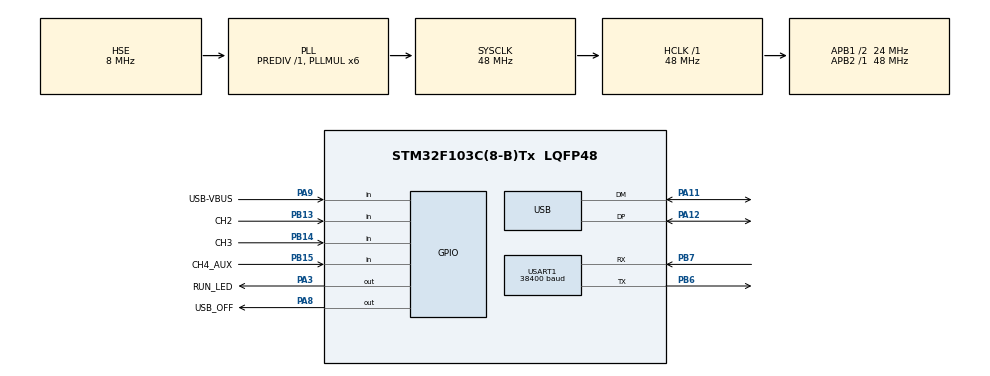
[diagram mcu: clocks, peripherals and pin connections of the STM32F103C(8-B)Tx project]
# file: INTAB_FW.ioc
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IWDG.Prescaler=IWDG_PRESCALER_8
Mcu.Family=STM32F1
Mcu.Name=STM32F103C(8-B)Tx
Mcu.Package=LQFP48
NVIC.PriorityGroup=NVIC_PRIORITYGROUP_4
NVIC.USART1_IRQn=true\:0\:0\:false\:false\:true\:true\:true\:true
NVIC.USB_LP_CAN1_RX0_IRQn=true\:0\:0\:false\:false\:true\:false\:true\:true
PA11.Mode=Device
PA11.Signal=USB_DM
PA12.Mode=Device
PA12.Signal=USB_DP
PA13.Mode=Serial_Wire
PA13.Signal=SYS_JTMS-SWDIO
PA14.Mode=Serial_Wire
PA14.Signal=SYS_JTCK-SWCLK
PA3.GPIO_Label=RUN_LED
PA3.Signal=GPIO_Output
PA8.GPIO_Label=USB_OFF
PA8.GPIO_Speed=GPIO_SPEED_FREQ_LOW
PA8.Signal=GPIO_Output
PA9.GPIO_Label=USB-VBUS
PA9.Signal=GPIO_Input
PB13.GPIO_Label=CH2
PB13.Signal=GPIO_Input
PB14.GPIO_Label=CH3
PB14.Signal=GPIO_Input
PB15.GPIO_Label=CH4_AUX
PB15.Signal=GPIO_Input
PB6.Mode=Asynchronous
PB6.Signal=USART1_TX
PB7.Mode=Asynchronous
PB7.Signal=USART1_RX
PD0-OSC_IN.Mode=HSE-External-Oscillator
PD0-OSC_IN.Signal=RCC_OSC_IN
PD1-OSC_OUT.Mode=HSE-External-Oscillator
PD1-OSC_OUT.Signal=RCC_OSC_OUT
ProjectManager.HeapSize=0x200
ProjectManager.StackSize=0x400
ProjectManager.TargetToolchain=STM32CubeIDE
RCC.AHBFreq_Value=48000000
RCC.APB1CLKDivider=RCC_HCLK_DIV2
RCC.APB1Freq_Value=24000000
RCC.APB1TimFreq_Value=48000000
RCC.APB2Freq_Value=48000000
RCC.APB2TimFreq_Value=48000000
RCC.HCLKFreq_Value=48000000
RCC.PLLMUL=RCC_PLL_MUL6
RCC.SYSCLKFreq_VALUE=48000000
RCC.SYSCLKSource=RCC_SYSCLKSOURCE_PLLCLK
RCC.USBFreq_Value=48000000
USART1.BaudRate=38400
USART1.Mode=MODE_RX
USART1.VirtualMode=VM_ASYNC
USB_DEVICE.APP_RX_DATA_SIZE=512
USB_DEVICE.APP_TX_DATA_SIZE=512
USB_DEVICE.CLASS_NAME_FS=CDC
USB_DEVICE.VirtualMode=Cdc
USB_DEVICE.VirtualModeFS=Cdc_FS
VP_IWDG_VS_IWDG.Mode=IWDG_Activate
VP_USB_DEVICE_VS_USB_DEVICE_CDC_FS.Mode=CDC_FS
board=custom

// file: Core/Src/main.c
/* USER CODE BEGIN Header */
/**
  ******************************************************************************
  * @file           : main.c
  * @brief          : Main program body
  ******************************************************************************
  * @attention
  *
  * Copyright (c) 2026 STMicroelectronics.
  * All rights reserved.
  *
  * This software is licensed under terms that can be found in the LICENSE file
  * in the root directory of this software component.
  * If no LICENSE file comes with this software, it is provided AS-IS.
  *
  ******************************************************************************
  */
/* USER CODE END Header */
#include "main.h"
#include "usb_device.h"

/* USER CODE BEGIN Includes */

#include "app_monitor.h"
#include "app_state_machine.h"      /* 추가 필요 */
#include "app_frontend_link.h"      /* 추가 필요 */

/* USER CODE END Includes */

IWDG_HandleTypeDef hiwdg;

UART_HandleTypeDef huart1;

void SystemClock_Config(void);
static void MX_GPIO_Init(void);
static void MX_IWDG_Init(void);
static void MX_USART1_UART_Init(void);

/* USER CODE BEGIN 0 */

/* ---- 워치독 / 리셋 원인 (2026-10-19) ------------------------------------------
 * g_reset_cause : 부팅 직후 RCC 리셋 플래그를 비트마스크로 저장 (디버거로 확인용)
 *   bit0 IWDG / bit1 소프트웨어(NVIC_SystemReset) / bit2 전원(POR) / bit3 NRST 핀
 *   bit4 WWDG / bit5 저전력.   전원 투입 시에는 전원+핀 비트가 함께 서는 것이 정상.
 * Wdg_EarlyStart() : HAL_Init() 직후(클럭 설정 이전)에 호출한다.
 *   - HSE 기동 실패 등으로 Error_Handler()에 갇혀도 IWDG가 리셋시키도록 가장 먼저 시작
 *   - 디버거로 정지 중에는 IWDG도 정지시켜 브레이크포인트에서 리셋되지 않게 함
 *   - 아래 MX_IWDG_Init()은 이후 CubeMX 생성 순서에서 한 번 더 호출되지만 같은 설정의 재초기화라 무해
 */
#define RSTCAUSE_IWDG   0x01u
#define RSTCAUSE_SOFT   0x02u
#define RSTCAUSE_POWER  0x04u
#define RSTCAUSE_PIN    0x08u
#define RSTCAUSE_WWDG   0x10u
#define RSTCAUSE_LPWR   0x20u

volatile uint8_t g_reset_cause = 0;

static void Wdg_EarlyStart(void)
{
    uint8_t c = 0;
    if (__HAL_RCC_GET_FLAG(RCC_FLAG_IWDGRST))  { c |= RSTCAUSE_IWDG; }
    if (__HAL_RCC_GET_FLAG(RCC_FLAG_SFTRST))  { c |= RSTCAUSE_SOFT; }
    if (__HAL_RCC_GET_FLAG(RCC_FLAG_PORRST))  { c |= RSTCAUSE_POWER; }
    if (__HAL_RCC_GET_FLAG(RCC_FLAG_PINRST))  { c |= RSTCAUSE_PIN; }
    if (__HAL_RCC_GET_FLAG(RCC_FLAG_WWDGRST))  { c |= RSTCAUSE_WWDG; }
    if (__HAL_RCC_GET_FLAG(RCC_FLAG_LPWRRST))  { c |= RSTCAUSE_LPWR; }
    g_reset_cause = c;
    __HAL_RCC_CLEAR_RESET_FLAGS();

    __HAL_DBGMCU_FREEZE_IWDG();
    MX_IWDG_Init();
}

/* USER CODE END 0 */

int main(void)
{

  /* MCU Configuration--------------------------------------------------------*/

  /* Reset of all peripherals, Initializes the Flash interface and the Systick. */
  HAL_Init();

  /* USER CODE BEGIN Init */
  Wdg_EarlyStart();   /* 클럭 설정보다 먼저 워치독 시작 (초기 정지 복구) */

  /* USER CODE END Init */

  /* Configure the system clock */
  SystemClock_Config();

  /* Initialize all configured peripherals */
  MX_GPIO_Init();
  MX_USB_DEVICE_Init();
  MX_IWDG_Init();
  MX_USART1_UART_Init();
  /* USER CODE BEGIN 2 */

  FrontendLink_Init();      /* 추가 필요 - UART 수신 시작 */
  StateMachine_Init();      /* 추가 필요 - 상태판정 초기화 */
  AppMonitor_Init();

  /* USER CODE END 2 */

  /* Infinite loop */
  /* USER CODE BEGIN WHILE */
  while (1)
  {

	StateMachine_Poll();
	AppMonitor_Poll();

    /* USER CODE END WHILE */

  }
}

void SystemClock_Config(void)
{
  RCC_OscInitTypeDef RCC_OscInitStruct = {0};
  RCC_ClkInitTypeDef RCC_ClkInitStruct = {0};
  RCC_PeriphCLKInitTypeDef PeriphClkInit = {0};

  /** Initializes the RCC Oscillators according to the specified parameters
  * in the RCC_OscInitTypeDef structure.
  */
  RCC_OscInitStruct.OscillatorType = RCC_OSCILLATORTYPE_LSI|RCC_OSCILLATORTYPE_HSE;
  RCC_OscInitStruct.HSEState = RCC_HSE_ON;
  RCC_OscInitStruct.HSEPredivValue = RCC_HSE_PREDIV_DIV1;
  RCC_OscInitStruct.HSIState = RCC_HSI_ON;
  RCC_OscInitStruct.LSIState = RCC_LSI_ON;
  RCC_OscInitStruct.PLL.PLLState = RCC_PLL_ON;
  RCC_OscInitStruct.PLL.PLLSource = RCC_PLLSOURCE_HSE;
  RCC_OscInitStruct.PLL.PLLMUL = RCC_PLL_MUL6;
  if (HAL_RCC_OscConfig(&RCC_OscInitStruct) != HAL_OK)
  {
    Error_Handler();
  }

  /** Initializes the CPU, AHB and APB buses clocks
  */
  RCC_ClkInitStruct.ClockType = RCC_CLOCKTYPE_HCLK|RCC_CLOCKTYPE_SYSCLK
                              |RCC_CLOCKTYPE_PCLK1|RCC_CLOCKTYPE_PCLK2;
  RCC_ClkInitStruct.SYSCLKSource = RCC_SYSCLKSOURCE_PLLCLK;
  RCC_ClkInitStruct.AHBCLKDivider = RCC_SYSCLK_DIV1;
  RCC_ClkInitStruct.APB1CLKDivider = RCC_HCLK_DIV2;
  RCC_ClkInitStruct.APB2CLKDivider = RCC_HCLK_DIV1;

  if (HAL_RCC_ClockConfig(&RCC_ClkInitStruct, FLASH_LATENCY_1) != HAL_OK)
  {
    Error_Handler();
  }
  PeriphClkInit.PeriphClockSelection = RCC_PERIPHCLK_USB;
  PeriphClkInit.UsbClockSelection = RCC_USBCLKSOURCE_PLL;
  if (HAL_RCCEx_PeriphCLKConfig(&PeriphClkInit) != HAL_OK)
  {
    Error_Handler();
  }
}

static void MX_IWDG_Init(void)
{

  hiwdg.Instance = IWDG;
  hiwdg.Init.Prescaler = IWDG_PRESCALER_8;
  hiwdg.Init.Reload = 4095;
  if (HAL_IWDG_Init(&hiwdg) != HAL_OK)
  {
    Error_Handler();
  }

}

static void MX_USART1_UART_Init(void)
{

  huart1.Instance = USART1;
  huart1.Init.BaudRate = 38400;
  huart1.Init.WordLength = UART_WORDLENGTH_8B;
  huart1.Init.StopBits = UART_STOPBITS_1;
  huart1.Init.Parity = UART_PARITY_NONE;
  huart1.Init.Mode = UART_MODE_RX;
  huart1.Init.HwFlowCtl = UART_HWCONTROL_NONE;
  huart1.Init.OverSampling = UART_OVERSAMPLING_16;
  if (HAL_UART_Init(&huart1) != HAL_OK)
  {
    Error_Handler();
  }

}

static void MX_GPIO_Init(void)
{
  GPIO_InitTypeDef GPIO_InitStruct = {0};

  /* GPIO Ports Clock Enable */
  __HAL_RCC_GPIOD_CLK_ENABLE();
  __HAL_RCC_GPIOA_CLK_ENABLE();
  __HAL_RCC_GPIOB_CLK_ENABLE();

  /*Configure GPIO pin Output Level */
  HAL_GPIO_WritePin(GPIOA, RUN_LED_Pin|USB_OFF_Pin, GPIO_PIN_RESET);

  /*Configure GPIO pins : RUN_LED_Pin USB_OFF_Pin */
  GPIO_InitStruct.Pin = RUN_LED_Pin|USB_OFF_Pin;
  GPIO_InitStruct.Mode = GPIO_MODE_OUTPUT_PP;
  GPIO_InitStruct.Pull = GPIO_NOPULL;
  GPIO_InitStruct.Speed = GPIO_SPEED_FREQ_LOW;
  HAL_GPIO_Init(GPIOA, &GPIO_InitStruct);

  /*Configure GPIO pins : CH2_Pin CH3_Pin CH4_AUX_Pin */
  GPIO_InitStruct.Pin = CH2_Pin|CH3_Pin|CH4_AUX_Pin;
  GPIO_InitStruct.Mode = GPIO_MODE_INPUT;
  GPIO_InitStruct.Pull = GPIO_NOPULL;
  HAL_GPIO_Init(GPIOB, &GPIO_InitStruct);

  /*Configure GPIO pin : USB_VBUS_Pin */
  GPIO_InitStruct.Pin = USB_VBUS_Pin;
  GPIO_InitStruct.Mode = GPIO_MODE_INPUT;
  GPIO_InitStruct.Pull = GPIO_NOPULL;
  HAL_GPIO_Init(USB_VBUS_GPIO_Port, &GPIO_InitStruct);

}

void Error_Handler(void)
{
  /* USER CODE BEGIN Error_Handler_Debug */
  /* User can add his own implementation to report the HAL error return state */
  /* IWDG가 이미 동작 중이므로, 갱신하지 않는 이 루프는 워치독 리셋으로 복구된다. */
  __disable_irq();
  while (1)
  {
  }
  /* USER CODE END Error_Handler_Debug */
}
